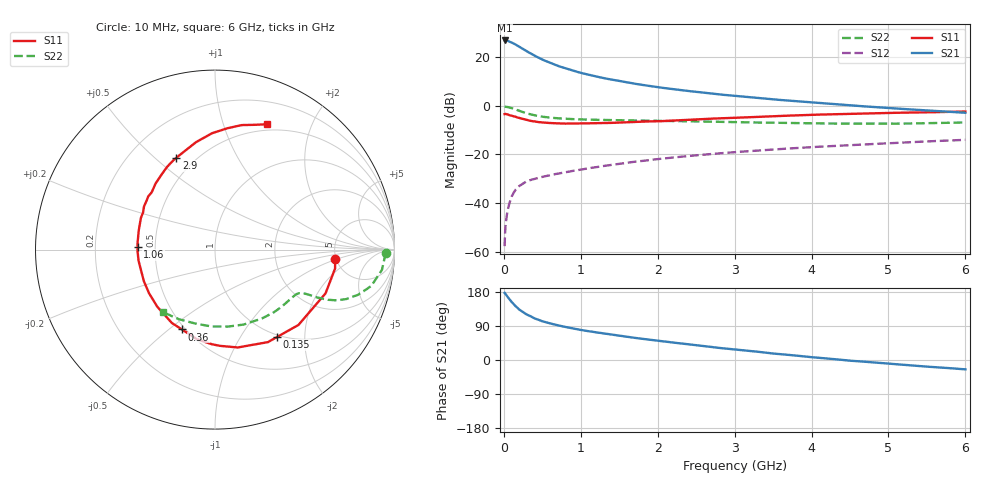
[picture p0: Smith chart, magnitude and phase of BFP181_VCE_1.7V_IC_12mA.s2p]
! Infineon Technologies  Discrete & RF Semiconductors
! BFP181
! VCE = 1.7 V,  IC =  12 mA
! Common Emitter S-Parameters:  Jan 2016
# GHz  S  MA  R  50
!  f  S11  S21  S12  S22
! GHz  MAG  ANG  MAG  ANG  MAG  ANG  MAG  ANG
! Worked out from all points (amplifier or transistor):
!   210 points, 10 MHz to 6 GHz, reference 50 ohm
!   highest |S21| = 26.8 dB at 10 MHz (marker M1)
!   |S21| within 3 dB of that: start of sweep to 222 MHz
!   unconditionally stable (mu >= 1): 677.9 MHz to end of sweep
!   at 185 MHz: K = 0.39, MSG = 29.0 dB, |S12| = -33.5 dB
!   at 1.52 GHz: K = 1.35, MAG = 13.4 dB, |S12| = -23.8 dB
!   at 6 GHz: K = 1.09, MAG = 3.7 dB, |S12| = -14.1 dB
!   S11 on the Smith chart (normalised r, x): 10 MHz: 4.89, -0.93; 135 MHz: 0.97, -1.46; 360 MHz: 0.48, -0.56; 1.06 GHz: 0.40, +0.02; 2.9 GHz: 0.40, +0.59; 6 GHz: 0.43, +1.41
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0.01  0.6706 -4.5  21.79 177.2  0.0013 86.9  0.9519 -1.1
0.05  0.6624 -21.6  21.42 166.1  0.0071 81.9  0.9371 -6.9
0.06  0.6488 -25.5  21.03 163.7  0.0083 78.3  0.9277 -8.1
0.1  0.6264 -42.1  19.85 153.5  0.0134 70.7  0.8941 -13.1
0.135  0.5972 -54.6  18.53 145.9  0.017 65.3  0.8532 -16.1
0.15  0.5939 -60.2  18.08 142.4  0.0186 63.6  0.8365 -17.5
0.2  0.5598 -76.9  16.26 133.2  0.0223 59.0  0.7804 -20.7
0.26  0.5273 -92.0  14.13 124.5  0.0258 54.5  0.7221 -23.0
0.36  0.4816 -112.5  11.51 114.2  0.0301 51.2  0.655 -24.6
0.4  0.4741 -120.5  10.59 109.6  0.0314 50.0  0.631 -25.1
0.5  0.4525 -135.3  8.789 102.2  0.0344 48.4  0.5923 -25.5
0.6  0.4406 -146.5  7.589 96.5  0.0373 48.4  0.5665 -25.9
0.8  0.4276 -164.1  5.84 87.0  0.0426 48.9  0.5378 -26.8
1.02  0.4316 -179.8  4.625 78.8  0.049 50.4  0.5194 -28.4
1.06  0.432 177.9  4.468 77.4  0.0504 50.5  0.5173 -28.7
1.5  0.4489 156.9  3.198 64.0  0.0639 50.8  0.5008 -33.8
2.02  0.4773 137.3  2.368 50.5  0.0804 49.6  0.4876 -41.3
2.9  0.5551 112.8  1.642 29.9  0.1076 44.9  0.462 -56.8
3.1  0.57 108.2  1.534 25.9  0.1137 43.5  0.455 -60.7
4.1  0.6541 89.9  1.135 5.8  0.1433 36.2  0.4322 -82.8
5.1  0.7128 76.8  0.872 -11.1  0.1715 28.8  0.4268 -107.5
6  0.757 67.3  0.713 -24.7  0.1983 21.4  0.4528 -129.4
